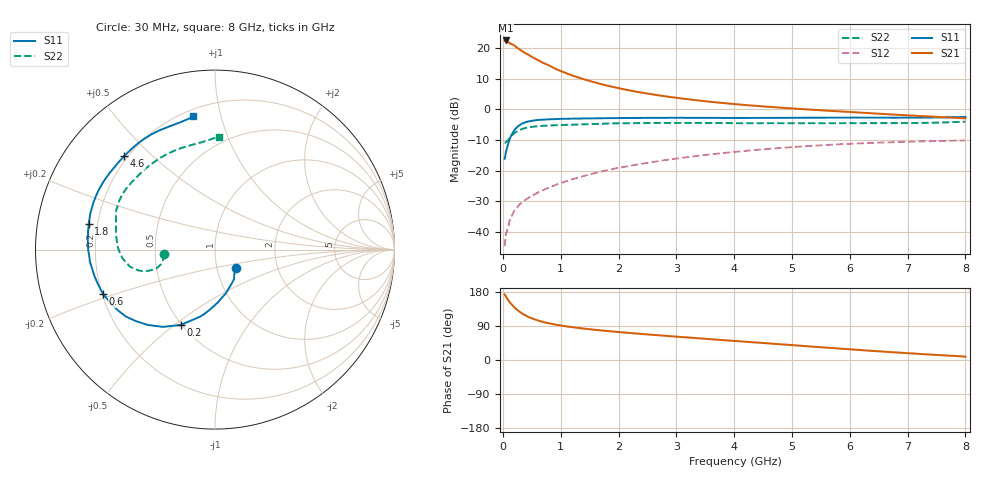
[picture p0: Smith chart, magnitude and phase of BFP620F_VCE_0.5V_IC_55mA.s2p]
! Infineon Technologies  Discrete & RF Semiconductors
! BFP620F
! VCE =  0.5 V,  IC =  55 mA
! Common Emitter S-Parameters:  Dec 2014
# GHz  S  MA  R  50
!  f  S11  S21  S12  S22
! GHz  MAG  ANG  MAG  ANG  MAG  ANG  MAG  ANG
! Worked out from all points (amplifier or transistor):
!   95 points, 30 MHz to 8 GHz, reference 50 ohm
!   highest |S21| = 22.4 dB at 50 MHz (marker M1)
!   |S21| within 3 dB of that: start of sweep to 294.8 MHz
!   unconditionally stable (mu >= 1): start of sweep to end of sweep
!   at 300 MHz: K = 1.27, MAG = 22.0 dB, |S12| = -30.8 dB
!   at 3.3 GHz: K = 1.17, MAG = 6.7 dB, |S12| = -15.3 dB
!   at 8 GHz: K = 1.17, MAG = 1.1 dB, |S12| = -10.2 dB
!   S11 on the Smith chart (normalised r, x): 30 MHz: 1.24, -0.26; 200 MHz: 0.49, -0.53; 600 MHz: 0.20, -0.18; 1.8 GHz: 0.17, +0.10; 4.6 GHz: 0.19, +0.41; 8 GHz: 0.24, +0.82
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0.03  0.1568 -40.8  13.11 173.0  0.0059 38.8  0.2876 -174.8
0.04  0.1699 -50.6  12.8 170.9  0.0073 47.9  0.2864 -172.7
0.05  0.1964 -57.4  13.25 169.1  0.009 50.6  0.2888 -170.4
0.08  0.2533 -76.7  12.73 160.7  0.0113 53.3  0.3056 -166.2
0.11  0.3108 -90.3  12.16 154.3  0.0147 56.7  0.3338 -162.7
0.15  0.3844 -102.8  11.58 147.1  0.0182 57.7  0.372 -162.1
0.2  0.4608 -114.4  10.93 138.5  0.0224 57.0  0.4108 -162.7
0.3  0.562 -131.6  9.313 126.0  0.0289 56.7  0.4654 -166.9
0.35  0.5943 -137.9  8.686 121.1  0.0314 56.8  0.4849 -168.9
0.45  0.6372 -147.7  7.685 113.0  0.0365 56.9  0.508 -172.9
0.6  0.6705 -158.3  6.378 104.6  0.0438 57.9  0.5302 -178.1
0.7  0.68 -163.6  5.685 100.2  0.0485 58.8  0.5397 179.2
0.9  0.6934 -171.5  4.624 93.7  0.0581 59.7  0.5503 174.5
1.1  0.7016 -177.3  3.864 88.7  0.0676 60.2  0.5588 170.4
1.4  0.7108 175.8  3.099 82.8  0.0822 59.9  0.5701 165.3
1.8  0.718 168.6  2.444 76.6  0.1018 58.7  0.5865 160.0
2.7  0.7275 156.1  1.689 65.2  0.1437 53.4  0.5994 151.8
4.1  0.7246 139.5  1.197 49.3  0.2064 42.5  0.5949 138.7
4.6  0.726 134.1  1.098 43.8  0.2268 38.2  0.5935 132.8
5.4  0.7311 126.0  0.98 34.8  0.2566 30.9  0.5949 122.9
6.7  0.7316 112.4  0.828 20.9  0.2906 18.9  0.5963 106.3
8  0.7514 99.2  0.713 8.9  0.3108 8.1  0.6298 88.0
